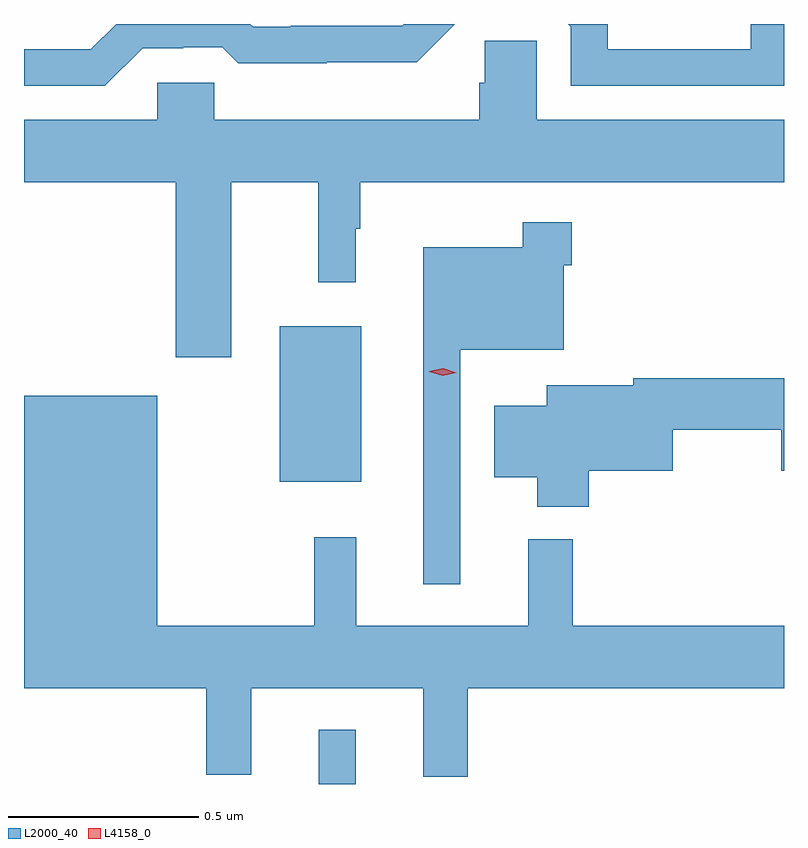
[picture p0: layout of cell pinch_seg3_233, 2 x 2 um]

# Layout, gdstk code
import gdstk
lib = gdstk.Library(unit=1e-6, precision=1e-09)
def R(c, l, rs):  # rectangles x0, y0, x1, y1
    for r in rs: c.add(gdstk.rectangle(r[:2], r[2:], *l))
def P(c, l, *ps):  # polygons
    for p in ps: c.add(gdstk.Polygon(p, *l))
L2000_40 = (2000, 40)
L4158_0 = (4158, 0)

pinch_seg3_233 = lib.new_cell('pinch_seg3_233')
R(pinch_seg3_233, L2000_40, [(923.367,736.628,923.464,736.771), (923.264,737.423,923.479,737.833)])
P(pinch_seg3_233, L2000_40, [(922.903,738.564),(923.01,738.564),(923.01,738.567),(923.113,738.567),(923.155,738.525),(923.388,738.525),(923.388,738.527),(923.624,738.527),(923.725,738.628),(923.59,738.628),(923.586,738.624),(923.293,738.624),(923.293,738.621),(923.194,738.621),(923.187,738.628),(922.834,738.628),(922.767,738.561),(922.591,738.561),(922.591,738.465),(922.804,738.465)],
  [(924.591,738.628),(924.504,738.628),(924.504,738.561),(924.127,738.561),(924.127,738.628),(924.023,738.628),(924.03,738.621),(924.03,738.465),(924.591,738.465)],
  [(923.137,738.212),(923.365,738.212),(923.365,737.949),(923.464,737.949),(923.464,738.089),(923.476,738.089),(923.476,738.212),(924.591,738.212),(924.591,738.376),(923.94,738.376),(923.94,738.584),(923.803,738.584),(923.803,738.474),(923.789,738.474),(923.789,738.376),(923.091,738.376),(923.091,738.474),(922.941,738.474),(922.941,738.376),(922.591,738.376),(922.591,738.212),(922.99,738.212),(922.99,737.751),(923.137,737.751)],
  [(923.739,737.771),(924.012,737.771),(924.012,737.993),(924.032,737.993),(924.032,738.106),(923.904,738.106),(923.904,738.04),(923.642,738.04),(923.642,737.154),(923.739,737.154)],
  [(924.077,737.453),(924.298,737.453),(924.298,737.56),(924.584,737.56),(924.584,737.453),(924.591,737.453),(924.591,737.696),(924.194,737.696),(924.194,737.677),(923.966,737.677),(923.966,737.623),(923.828,737.623),(923.828,737.435),(923.942,737.435),(923.942,737.357),(924.077,737.357)],
  [(923.355,737.278),(923.355,737.044),(922.942,737.044),(922.942,737.65),(922.592,737.65),(922.592,737.044),(922.591,737.044),(922.591,736.88),(923.071,736.88),(923.071,736.652),(923.189,736.652),(923.189,736.88),(923.642,736.88),(923.642,736.647),(923.759,736.647),(923.759,736.88),(924.591,736.88),(924.591,737.044),(924.035,737.044),(924.035,737.272),(923.918,737.272),(923.918,737.044),(923.465,737.044),(923.465,737.278)])
P(pinch_seg3_233, L4158_0, [(923.693,737.702),(923.657,737.713),(923.657,737.714),(923.657,737.714),(923.694,737.722),(923.729,737.71),(923.729,737.71),(923.729,737.71)])

lib.write_gds('pinch_seg3_233.gds')
